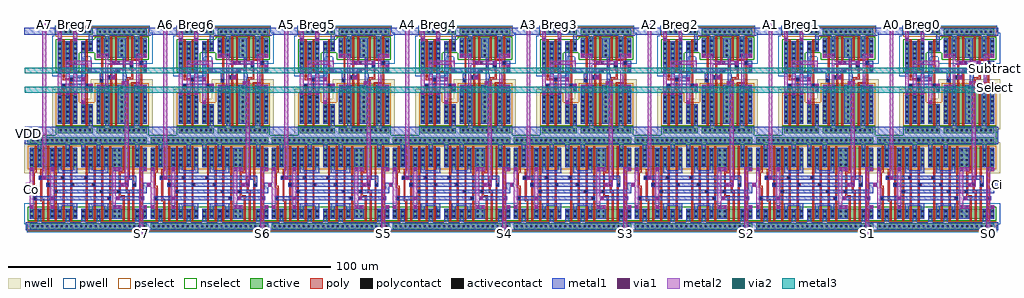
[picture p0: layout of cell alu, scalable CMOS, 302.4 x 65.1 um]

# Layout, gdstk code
import gdstk
lib = gdstk.Library(unit=1e-6, precision=1e-09)
def R(c, l, rs):  # rectangles x0, y0, x1, y1
    for r in rs: c.add(gdstk.rectangle(r[:2], r[2:], *l))
def A(c, l, x, y, w, h, nx, ny, dx, dy):  # array of equal rectangles
    R(c, l, [(x+i*dx, y+j*dy, x+i*dx+w, y+j*dy+h) for i in range(nx) for j in range(ny)])
pwell = (41, 0)
nwell = (42, 0)
active = (43, 0)
pselect = (44, 0)
nselect = (45, 0)
poly = (46, 0)
polycontact = (47, 0)
activecontact = (48, 0)
metal1 = (49, 0)
via1 = (50, 0)
metal2 = (51, 0)
via2 = (61, 0)
metal3 = (62, 0)

mux21 = lib.new_cell('mux21')
R(mux21, pwell, [(-3.3,-21.3,9.3,-18.3), (-4.2,-18.3,10.2,-11.7), (-4.2,-11.7,5.4,-5.7)])
R(mux21, nwell, [(-4.2,-1.8,5.4,1.2), (-4.2,1.2,10.2,10.8), (-3.3,10.8,9.3,12.9)])
R(mux21, active, [(-2.4,-20.4,8.4,-18.6), (-2.4,-16.5,3.6,-7.5), (4.8,-16.5,8.4,-13.5), (-2.4,0,3.6,9), (4.8,3,8.4,9), (-2.4,10.2,8.4,12)])
R(mux21, pselect, [(-3,-21,9,-18), (-3,-0.6,4.2,2.4), (-3,2.4,9,9.6)])
R(mux21, nselect, [(-3,-17.1,9,-12.9), (-3,-12.9,4.2,-6.9), (-3,9.6,9,12.6)])
R(mux21, poly, [(-0.9,-17.1,-0.3,-5.1), (1.5,-17.1,2.1,-7.2), (6.3,-17.1,6.9,-7.2), (1.5,-7.2,6.9,-6.6), (6.3,-6.6,6.9,-3.3), (1.2,-5.4,2.4,-5.1), (-0.9,-5.1,2.4,-4.5), (1.2,-4.5,2.4,-4.2), (1.5,-4.2,2.1,9.6), (-1.2,-3.3,0,-2.1), (6,-3.3,7.2,-2.1), (-0.9,-2.1,-0.3,9.6), (6.3,-2.1,6.9,9.6)])
R(mux21, polycontact, [(1.5,-5.1,2.1,-4.5), (-0.9,-3,-0.3,-2.4), (6.3,-3,6.9,-2.4)])
A(mux21, activecontact, -1.8, -19.8, 0.6, 0.6, 7, 2, 1.5, 30.6)
A(mux21, activecontact, -2.1, -16.05, 0.6, 0.6, 5, 2, 2.4, 1.5)
A(mux21, activecontact, -2.1, -13.05, 0.6, 0.6, 3, 4, 2.4, 1.5)
A(mux21, activecontact, -2.1, 0.45, 0.6, 0.6, 3, 2, 2.4, 1.5)
A(mux21, activecontact, -2.1, 3.45, 0.6, 0.6, 5, 4, 2.4, 1.5)
A(mux21, metal1, -2.4, -16.5, 1.2, 10.2, 3, 2, 2.4, 15.3)
R(mux21, metal1, [(-3.6,-20.7,9.6,-18.6), (7.2,-18.6,8.4,-13.5), (4.8,-16.5,6,-5.4), (1.2,-5.4,6,-4.2), (-1.2,-3.3,7.2,-2.1), (4.8,1.8,6,9), (7.2,3,8.4,9.9), (-3.6,9.9,9.6,12.3)])
A(mux21, via1, -2.1, -7.2, 0.6, 0.6, 3, 2, 2.4, 6.3)
R(mux21, via1, [(5.1,-5.1,5.7,-4.5), (5.1,2.1,5.7,2.7)])
A(mux21, metal2, -2.4, -7.5, 1.2, 7.5, 3, 1, 2.4, 0)
R(mux21, metal2, [(4.8,-5.4,6,3)])
mux21.add(gdstk.Label('GND', (3,-19.5), layer=49, texttype=0))
mux21.add(gdstk.Label('VDD', (3,11.1), layer=49, texttype=0))
mux21.add(gdstk.Label('S', (4.2,-2.7), layer=49, texttype=0))
mux21.add(gdstk.Label('B', (3,-3.9), layer=51, texttype=0))
mux21.add(gdstk.Label('A', (-1.8,-4.2), layer=51, texttype=0))
mux21.add(gdstk.Label('OUT', (0.6,-3.9), layer=51, texttype=0))

xor2 = lib.new_cell('xor2')
R(xor2, pwell, [(4.2,-2.1,21.6,0), (3.3,0,22.5,9.6)])
R(xor2, nwell, [(3.3,14.4,22.5,30), (4.2,30,21.6,32.1)])
R(xor2, active, [(5.1,-1.2,20.7,0.6), (5.1,1.8,20.7,7.8), (5.1,16.2,20.7,28.2), (5.1,29.4,20.7,31.2)])
R(xor2, pselect, [(4.5,-1.8,21.3,1.2), (4.5,15.6,21.3,28.8)])
R(xor2, nselect, [(4.5,1.2,21.3,8.4), (4.5,28.8,21.3,31.8)])
R(xor2, poly, [(6.6,1.2,7.2,14.1), (9.3,1.2,9.9,13.2), (10.8,1.2,11.4,8.7), (14.4,1.2,15,8.1), (15.9,1.2,16.5,8.1), (18.6,1.2,19.2,8.1), (13.5,8.1,15,8.7), (15.9,8.1,19.2,8.7), (10.8,8.7,12.3,9.9), (13.5,8.7,14.1,11.1), (18.3,8.7,19.5,9.9), (15.3,9.9,16.5,11.1), (18.6,9.9,19.2,15.3), (10.8,11.1,14.1,11.7), (15.9,11.1,16.5,13.8), (10.8,11.7,12.3,12.3), (10.8,12.3,11.4,28.8), (8.4,13.2,9.9,14.4), (14.4,13.8,16.5,14.4), (6,14.1,7.2,15.3), (9.3,14.4,9.9,28.8), (14.4,14.4,15,28.8), (6.6,15.3,7.2,28.8), (15.9,15.3,19.2,15.9), (15.9,15.9,16.5,28.8), (18.6,15.9,19.2,28.8)])
R(xor2, polycontact, [(11.4,9,12,9.6), (18.6,9,19.2,9.6), (15.6,10.2,16.2,10.8), (11.4,11.4,12,12), (8.7,13.5,9.3,14.1), (6.3,14.4,6.9,15)])
A(xor2, activecontact, 5.85, -0.6, 0.6, 0.6, 10, 2, 1.5, 30.6)
A(xor2, activecontact, 7.95, 2.25, 0.6, 0.6, 3, 4, 4.65, 1.5)
A(xor2, activecontact, 5.4, 2.4, 0.6, 0.6, 1, 3, 0, 1.5)
A(xor2, activecontact, 19.8, 2.4, 0.6, 0.6, 1, 3, 0, 1.5)
A(xor2, activecontact, 7.95, 16.65, 0.6, 0.6, 3, 8, 4.65, 1.5)
A(xor2, activecontact, 5.4, 18, 0.6, 0.6, 1, 7, 0, 1.5)
A(xor2, activecontact, 19.8, 18, 0.6, 0.6, 1, 7, 0, 1.5)
R(xor2, metal1, [(3.9,-1.5,21.9,0.9), (7.8,0.9,9,1.8), (16.8,0.9,18.3,7.8), (5.1,1.8,6.3,7.8), (7.5,1.8,9,7.8), (11.7,1.8,14.1,7.8), (19.5,1.8,20.7,7.8), (13.2,7.8,14.1,12.9), (9.9,8.7,12.3,9.9), (15.3,8.7,16.5,11.1), (18.3,8.7,20.7,9.9), (6,11.1,12.3,12.3), (6,12.3,7.2,15.3), (13.2,12.9,14.4,14.1), (8.4,13.2,10.8,14.4), (13.2,14.1,14.1,16.2), (5.1,16.2,6.3,28.2), (7.5,16.2,9,28.2), (11.7,16.2,14.1,28.2), (16.8,16.2,18.3,29.1), (19.5,16.2,20.7,28.2), (7.8,28.2,9,29.1), (3.9,29.1,21.9,31.5)])
R(xor2, via1, [(5.4,6.9,6,7.5), (19.8,6.9,20.4,7.5), (10.2,9,10.8,9.6), (15.6,9,16.2,9.6), (9.9,13.5,10.5,14.1), (5.4,16.5,6,17.1), (19.8,16.5,20.4,17.1)])
R(xor2, metal2, [(5.1,6.6,8.7,7.8), (17.4,6.6,20.7,7.8), (7.8,7.8,8.7,8.7), (17.4,7.8,18.3,10.8), (7.8,8.7,16.5,9.9), (7.8,9.9,8.7,16.2), (9.6,10.8,18.3,11.7), (9.6,11.7,10.8,14.4), (17.4,11.7,18.3,16.2), (5.1,16.2,8.7,17.4), (17.4,16.2,20.7,17.4)])
xor2.add(gdstk.Label('A', (6.6,11.7), layer=49, texttype=0))
xor2.add(gdstk.Label('B', (20.1,9.3), layer=49, texttype=0))
xor2.add(gdstk.Label('Y', (13.8,13.5), layer=49, texttype=0))
xor2.add(gdstk.Label('GND', (5.7,0), layer=49, texttype=0))
xor2.add(gdstk.Label('VDD', (6,30.3), layer=49, texttype=0))

c_fa = lib.new_cell('fa')
R(c_fa, pwell, [(-6,1.5,32.1,3.9), (-6.9,3.9,33,10.5)])
R(c_fa, nwell, [(-6.9,19.8,33,29.4), (-6,29.4,32.1,31.8)])
R(c_fa, active, [(-5.1,2.4,31.2,4.2), (-5.1,5.7,9.6,8.7), (10.8,5.7,31.2,8.7), (-5.1,21.6,9.6,27.6), (10.8,21.6,31.2,27.6), (-5.1,29.1,31.2,30.9)])
R(c_fa, pselect, [(-5.7,1.8,31.8,4.8), (-5.7,21,31.8,28.2)])
R(c_fa, nselect, [(-5.7,5.1,31.8,9.3), (-5.7,28.5,31.8,31.5)])
A(c_fa, poly, 0.3, 5.1, 0.6, 10.5, 3, 1, 7.2, 0)
A(c_fa, poly, 0.3, 16.8, 0.6, 11.4, 3, 1, 7.2, 0)
R(c_fa, poly, [(-3.6,5.1,-3,11.4), (-1.2,5.1,-0.6,11.1), (2.7,5.1,3.3,13.5), (5.1,5.1,5.7,17.7), (12.3,5.1,12.9,17.7), (17.1,5.1,17.7,13.5), (19.5,5.1,20.1,11.4), (23.7,5.1,24.3,12.3), (25.2,5.1,25.8,13.8), (26.7,5.1,27.3,15.6), (29.1,5.1,29.7,11.4), (-1.8,11.1,-0.6,11.7), (-4.2,11.4,-3,12.6), (18.9,11.4,20.1,12.6), (29.1,11.4,30.3,12.6), (-1.8,11.7,-1.2,17.7), (22.5,12.3,24.3,12.9), (-3.6,12.6,-3,15.3), (19.5,12.6,20.1,28.2), (29.1,12.6,29.7,28.2), (22.5,12.9,23.1,13.5), (2.4,13.5,3.6,14.7), (16.5,13.5,17.7,14.7), (21.9,13.5,23.1,14.7), (24.6,13.8,25.8,14.4), (24.6,14.4,25.2,15.6), (2.7,14.7,3.3,28.2), (17.1,14.7,17.7,28.2), (22.5,14.7,23.1,19.8), (-4.2,15.3,-3,15.9), (0,15.6,1.2,16.8), (7.5,15.6,8.7,16.8), (14.1,15.6,15.3,16.8), (24.3,15.6,25.5,16.8), (26.7,15.6,27.9,16.8), (-4.2,15.9,-3.6,20.1), (24.6,16.8,25.2,18), (26.7,16.8,27.3,28.2), (-2.4,17.7,-1.2,18.9), (4.5,17.7,5.7,18.9), (11.7,17.7,12.9,18.9), (24.6,18,25.8,18.6), (25.2,18.6,25.8,28.2), (-1.8,18.9,-1.2,20.4), (5.1,18.9,5.7,28.2), (12.3,18.9,12.9,28.2), (22.5,19.8,24.3,20.4), (-4.2,20.1,-3,20.7), (-1.8,20.4,-0.6,21), (23.7,20.4,24.3,28.2), (-3.6,20.7,-3,28.2), (-1.2,21,-0.6,28.2)])
R(c_fa, polycontact, [(-3.9,11.7,-3.3,12.3), (19.2,11.7,19.8,12.3), (29.4,11.7,30,12.3), (2.7,13.8,3.3,14.4), (16.8,13.8,17.4,14.4), (22.2,13.8,22.8,14.4), (0.3,15.9,0.9,16.5), (7.8,15.9,8.4,16.5), (14.4,15.9,15,16.5), (24.6,15.9,25.2,16.5), (27,15.9,27.6,16.5), (-2.1,18,-1.5,18.6), (4.8,18,5.4,18.6), (12,18,12.6,18.6)])
A(c_fa, activecontact, -4.5, 3, 0.6, 0.6, 24, 2, 1.5, 26.7)
A(c_fa, activecontact, 1.5, 6.15, 0.6, 0.6, 8, 2, 2.4, 1.5)
A(c_fa, activecontact, -4.8, 22.05, 0.6, 0.6, 1, 4, 0, 1.5)
A(c_fa, activecontact, -2.4, 22.05, 0.6, 0.6, 1, 4, 0, 1.5)
A(c_fa, activecontact, 1.5, 22.05, 0.6, 0.6, 8, 4, 2.4, 1.5)
A(c_fa, activecontact, 20.85, 22.05, 0.6, 0.6, 1, 4, 0, 1.5)
A(c_fa, activecontact, 22.35, 22.05, 0.6, 0.6, 1, 4, 0, 1.5)
A(c_fa, activecontact, 27.9, 22.05, 0.6, 0.6, 1, 4, 0, 1.5)
A(c_fa, activecontact, 30.3, 22.05, 0.6, 0.6, 1, 4, 0, 1.5)
R(c_fa, activecontact, [(-4.8,6.15,-4.2,6.75), (-2.4,6.15,-1.8,6.75), (20.85,6.15,21.45,6.75), (22.35,6.15,22.95,6.75), (27.9,6.15,28.5,6.75), (30.3,6.15,30.9,6.75), (-4.8,7.65,-4.2,8.25), (-2.4,7.65,-1.8,8.25), (20.85,7.65,21.45,8.25), (22.35,7.65,22.95,8.25), (27.9,7.65,28.5,8.25), (30.3,7.65,30.9,8.25)])
A(c_fa, metal1, 6, 4.5, 1.2, 4.2, 3, 1, 4.8, 0)
A(c_fa, metal1, 3.6, 5.7, 1.2, 3.9, 4, 1, 4.8, 0)
A(c_fa, metal1, 3.6, 20.7, 1.2, 6.9, 4, 1, 4.8, 0)
A(c_fa, metal1, 6, 21.6, 1.2, 7.2, 3, 1, 4.8, 0)
R(c_fa, metal1, [(-6.3,2.1,32.4,4.5), (-2.7,4.5,-1.5,8.7), (27.6,4.5,28.8,8.7), (-5.1,5.7,-3.9,9.9), (1.2,5.7,2.4,9.9), (20.4,5.7,23.4,9.9), (30,5.7,31.2,9.9), (3.6,9.6,9.6,10.5), (13.2,9.6,19.2,10.5), (-4.2,11.4,20.1,12.6), (21.6,11.4,30.3,12.6), (2.4,13.5,31.2,14.7), (30,14.7,31.2,15.6), (-6.3,15.6,-5.1,16.8), (0,15.6,25.5,16.8), (26.7,15.6,27.9,17.7), (30,15.6,32.4,16.8), (-2.4,17.7,27.9,18.9), (3.6,19.8,9.6,20.7), (13.2,19.8,19.2,20.7), (-5.1,20.4,-3.9,27.6), (1.2,20.4,2.4,27.6), (20.4,20.4,23.4,27.6), (30,20.4,31.2,27.6), (-2.7,21.6,-1.5,28.8), (27.6,21.6,28.8,28.8), (-6.3,28.8,32.4,31.2)])
R(c_fa, via1, [(-4.8,9,-4.2,9.6), (1.5,9,2.1,9.6), (20.85,9,21.45,9.6), (22.35,9,22.95,9.6), (30.3,9,30.9,9.6), (1.5,11.7,2.1,12.3), (21.9,11.7,22.5,12.3), (-6,15.9,-5.4,16.5), (-4.8,20.7,-4.2,21.3), (1.5,20.7,2.1,21.3), (20.85,20.7,21.45,21.3), (22.35,20.7,22.95,21.3), (30.3,20.7,30.9,21.3)])
R(c_fa, metal2, [(-5.1,8.7,-3.9,15.6), (1.2,8.7,2.4,21.6), (20.4,8.7,23.4,9.9), (28.8,8.7,31.2,9.9), (20.4,9.9,21.6,11.4), (28.8,9.9,30,20.4), (20.4,11.4,22.8,12.6), (20.4,12.6,21.6,20.4), (-6.3,15.6,-3.9,16.8), (-5.1,16.8,-3.9,21.6), (20.4,20.4,23.4,21.6), (28.8,20.4,31.2,21.6)])
c_fa.add(gdstk.Label('VDD', (12.6,30), layer=49, texttype=0))
c_fa.add(gdstk.Label('S', (30.6,9.3), layer=51, texttype=0))
c_fa.add(gdstk.Label('Co', (-4.5,16.2), layer=51, texttype=0))
c_fa.add(gdstk.Label('B', (11.4,16.2), layer=49, texttype=0))
c_fa.add(gdstk.Label('A', (9.3,18.3), layer=49, texttype=0))
c_fa.add(gdstk.Label('Ci', (31.8,16.2), layer=49, texttype=0))
c_fa.add(gdstk.Label('GND', (12.9,3), layer=49, texttype=0))

fa_sub = lib.new_cell('fa_sub')
R(fa_sub, nwell, [(8.1,47.7,9,49.2)])
R(fa_sub, metal1, [(29.4,31.5,30.6,32.7), (5.1,33.6,6.3,34.8), (-0.3,44.7,38.7,50.1), (19.5,62.1,20.7,63.3), (29.7,63,30.9,64.2), (19.2,66.9,22.8,68.1), (36.3,68.1,37.5,69.3), (9.9,76.5,11.1,77.7), (14.7,76.5,15.9,77.7), (-0.6,78.6,38.7,80.7)])
R(fa_sub, via1, [(29.7,31.8,30.3,32.4), (5.4,33.9,6,34.5), (19.8,62.4,20.4,63), (30,63.3,30.6,63.9), (19.5,67.2,20.1,67.8), (36.6,68.4,37.2,69), (10.2,76.8,10.8,77.4), (15,76.8,15.6,77.4)])
R(fa_sub, metal2, [(35.1,16.8,36.3,30.6), (29.4,31.5,31.8,32.7), (30.6,32.7,31.8,63), (5.1,33.6,6.3,81.9), (19.5,60.9,20.7,63.3), (29.7,63,31.8,64.2), (19.2,66.9,20.4,69.3), (36.3,66.9,37.5,69.3), (12.3,67.2,13.5,69.3), (12.3,69.3,20.4,70.5), (9.9,76.5,11.1,81.9), (14.7,76.5,15.9,81.9)])
R(fa_sub, via2, [(19.8,61.2,20.4,61.8), (36.6,67.2,37.2,67.8)])
R(fa_sub, metal3, [(-0.3,60.6,38.4,62.4), (-0.3,66.6,38.4,68.4)])
fa_sub.add(gdstk.Reference(mux21, (12.3,60), x_reflection=True))
fa_sub.add(gdstk.Reference(xor2, (16.8,79.2), x_reflection=True))
fa_sub.add(gdstk.Reference(c_fa, (6.3,15.9)))
fa_sub.add(gdstk.Label('Subtract', (37.8,67.5), layer=62, texttype=0))
fa_sub.add(gdstk.Label('VDD', (19.2,47.4), layer=49, texttype=0))
fa_sub.add(gdstk.Label('B_im', (10.5,81.3), layer=51, texttype=0))
fa_sub.add(gdstk.Label('A', (5.7,81.3), layer=51, texttype=0))
fa_sub.add(gdstk.Label('S', (35.7,17.4), layer=51, texttype=0))
fa_sub.add(gdstk.Label('B_reg', (15.3,81.3), layer=51, texttype=0))
fa_sub.add(gdstk.Label('Im_sel', (37.8,61.5), layer=62, texttype=0))

alu = lib.new_cell('alu')
A(alu, nwell, 39.3, 47.7, 0.9, 1.5, 7, 1, 37.5, 0)
R(alu, metal1, [(300.9,31.5,302.1,32.7), (0.6,47.1,2.7,48.6), (0.3,78.6,2.4,80.7)])
A(alu, metal2, 36, 16.8, 1.2, 1.2, 8, 1, 37.5, 0)
A(alu, metal2, 6, 80.7, 1.2, 1.2, 3, 1, 4.8, 0)
A(alu, metal2, 43.5, 80.7, 1.2, 1.2, 3, 1, 4.8, 0)
A(alu, metal2, 81, 80.7, 1.2, 1.2, 3, 1, 4.8, 0)
A(alu, metal2, 118.5, 80.7, 1.2, 1.2, 3, 1, 4.8, 0)
A(alu, metal2, 156, 80.7, 1.2, 1.2, 3, 1, 4.8, 0)
A(alu, metal2, 193.5, 80.7, 1.2, 1.2, 3, 1, 4.8, 0)
A(alu, metal2, 231, 80.7, 1.2, 1.2, 3, 1, 4.8, 0)
R(alu, metal2, [(2.1,30.3,3.3,31.5), (268.5,80.7,269.7,81.9), (278.1,80.7,279.3,81.9)])
R(alu, metal3, [(300.3,60.6,301.8,62.4), (300.6,66.6,301.8,68.4)])
alu.add(gdstk.Reference(fa_sub, (0.9,0)))
alu.add(gdstk.Reference(fa_sub, (38.4,0)))
alu.add(gdstk.Reference(fa_sub, (75.9,0)))
alu.add(gdstk.Reference(fa_sub, (113.4,0)))
alu.add(gdstk.Reference(fa_sub, (150.9,0)))
alu.add(gdstk.Reference(fa_sub, (188.4,0)))
alu.add(gdstk.Reference(fa_sub, (225.9,0)))
alu.add(gdstk.Reference(fa_sub, (263.4,0)))
alu.add(gdstk.Label('Subtract', (301.5,68.1), layer=62, texttype=0))
alu.add(gdstk.Label('Select', (301.2,62.1), layer=62, texttype=0))
alu.add(gdstk.Label('Breg0', (278.7,81.6), layer=51, texttype=0))
alu.add(gdstk.Label('A0', (269.1,81.6), layer=51, texttype=0))
alu.add(gdstk.Label('Breg1', (241.2,81.6), layer=51, texttype=0))
alu.add(gdstk.Label('Bim1', (236.4,81.6), layer=51, texttype=0))
alu.add(gdstk.Label('A1', (231.6,81.6), layer=51, texttype=0))
alu.add(gdstk.Label('Breg2', (203.7,81.6), layer=51, texttype=0))
alu.add(gdstk.Label('Bim2', (198.9,81.6), layer=51, texttype=0))
alu.add(gdstk.Label('A2', (194.1,81.6), layer=51, texttype=0))
alu.add(gdstk.Label('Breg3', (166.2,81.6), layer=51, texttype=0))
alu.add(gdstk.Label('Bim3', (161.4,81.6), layer=51, texttype=0))
alu.add(gdstk.Label('A3', (156.6,81.6), layer=51, texttype=0))
alu.add(gdstk.Label('S0', (299.1,17.1), layer=51, texttype=0))
alu.add(gdstk.Label('S1', (261.6,17.1), layer=51, texttype=0))
alu.add(gdstk.Label('S2', (224.1,17.1), layer=51, texttype=0))
alu.add(gdstk.Label('S3', (186.6,17.1), layer=51, texttype=0))
alu.add(gdstk.Label('S4', (149.1,17.1), layer=51, texttype=0))
alu.add(gdstk.Label('S5', (111.6,17.1), layer=51, texttype=0))
alu.add(gdstk.Label('S6', (74.1,17.1), layer=51, texttype=0))
alu.add(gdstk.Label('S7', (36.6,17.1), layer=51, texttype=0))
alu.add(gdstk.Label('A7', (6.6,81.6), layer=51, texttype=0))
alu.add(gdstk.Label('Bim7', (11.4,81.6), layer=51, texttype=0))
alu.add(gdstk.Label('Breg7', (16.2,81.6), layer=51, texttype=0))
alu.add(gdstk.Label('A6', (44.1,81.6), layer=51, texttype=0))
alu.add(gdstk.Label('Bim6', (48.9,81.6), layer=51, texttype=0))
alu.add(gdstk.Label('Breg6', (53.7,81.6), layer=51, texttype=0))
alu.add(gdstk.Label('A5', (81.6,81.6), layer=51, texttype=0))
alu.add(gdstk.Label('Bim5', (86.4,81.6), layer=51, texttype=0))
alu.add(gdstk.Label('Breg5', (91.2,81.6), layer=51, texttype=0))
alu.add(gdstk.Label('A4', (119.1,81.6), layer=51, texttype=0))
alu.add(gdstk.Label('Bim4', (123.9,81.6), layer=51, texttype=0))
alu.add(gdstk.Label('Breg4', (128.7,81.6), layer=51, texttype=0))
alu.add(gdstk.Label('GND', (1.5,79.5), layer=49, texttype=0))
alu.add(gdstk.Label('VDD', (1.8,48), layer=49, texttype=0))
alu.add(gdstk.Label('Co', (2.7,30.6), layer=51, texttype=0))
alu.add(gdstk.Label('Ci', (301.8,32.1), layer=49, texttype=0))

lib.write_gds('alu.gds')
